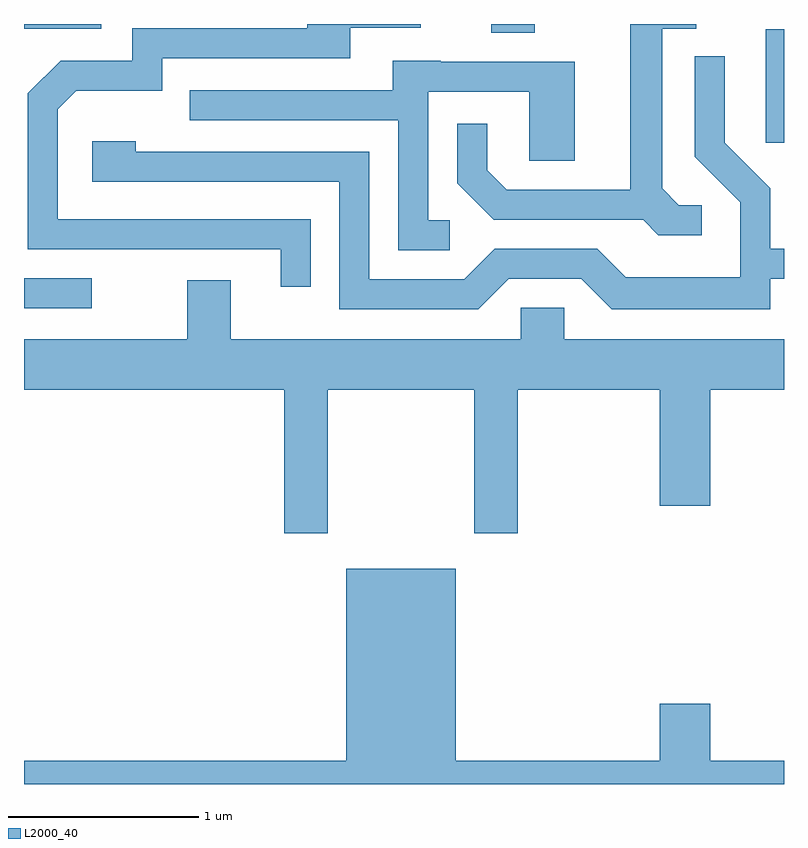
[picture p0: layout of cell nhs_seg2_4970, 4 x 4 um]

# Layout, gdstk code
import gdstk
lib = gdstk.Library(unit=1e-6, precision=1e-09)
def R(c, l, rs):  # rectangles x0, y0, x1, y1
    for r in rs: c.add(gdstk.rectangle(r[:2], r[2:], *l))
def P(c, l, *ps):  # polygons
    for p in ps: c.add(gdstk.Polygon(p, *l))
L2000_40 = (2000, 40)

nhs_seg2_4970 = lib.new_cell('nhs_seg2_4970')
R(nhs_seg2_4970, L2000_40, [(331.611,1044.306,331.968,1044.464), (335.516,1045.176,335.611,1045.774), (334.071,1045.756,334.299,1045.802), (331.611,1045.776,332.018,1045.802)])
P(nhs_seg2_4970, L2000_40, [(333.119,1044.774),(331.789,1044.774),(331.789,1045.353),(331.887,1045.451),(332.339,1045.451),(332.339,1045.621),(333.329,1045.621),(333.329,1045.781),(333.698,1045.781),(333.698,1045.802),(333.101,1045.802),(333.101,1045.779),(332.181,1045.779),(332.181,1045.609),(331.804,1045.609),(331.631,1045.437),(331.631,1044.616),(332.961,1044.616),(332.961,1044.418),(333.119,1044.418)],
  [(335.178,1044.849),(335.057,1044.849),(334.969,1044.937),(334.969,1045.776),(335.148,1045.776),(335.148,1045.802),(334.801,1045.802),(334.801,1044.929),(334.152,1044.929),(334.049,1045.032),(334.049,1045.277),(333.891,1045.277),(333.891,1044.964),(334.084,1044.771),(334.869,1044.771),(334.949,1044.691),(335.178,1044.691)],
  [(334.162,1044.461),(334.544,1044.461),(334.704,1044.301),(335.539,1044.301),(335.539,1044.461),(335.611,1044.461),(335.611,1044.619),(335.539,1044.619),(335.539,1044.937),(335.299,1045.177),(335.299,1045.632),(335.141,1045.632),(335.141,1045.103),(335.381,1044.863),(335.381,1044.469),(334.777,1044.469),(334.627,1044.619),(334.089,1044.619),(333.929,1044.459),(333.429,1044.459),(333.429,1045.129),(332.199,1045.129),(332.199,1045.184),(331.971,1045.184),(331.971,1044.971),(333.271,1044.971),(333.271,1044.301),(334.002,1044.301)],
  [(333.853,1044.769),(333.739,1044.769),(333.739,1045.446),(334.271,1045.446),(334.271,1045.081),(334.509,1045.081),(334.509,1045.604),(333.805,1045.604),(333.805,1045.609),(333.551,1045.609),(333.551,1045.454),(332.483,1045.454),(332.483,1045.296),(333.581,1045.296),(333.581,1044.611),(333.853,1044.611)],
  [(333.209,1043.876),(333.981,1043.876),(333.981,1043.121),(334.209,1043.121),(334.209,1043.876),(334.956,1043.876),(334.956,1043.266),(335.224,1043.266),(335.224,1043.876),(335.611,1043.876),(335.611,1044.144),(334.454,1044.144),(334.454,1044.309),(334.226,1044.309),(334.226,1044.144),(332.699,1044.144),(332.699,1044.454),(332.471,1044.454),(332.471,1044.144),(331.611,1044.144),(331.611,1043.876),(332.981,1043.876),(332.981,1043.121),(333.209,1043.121)],
  [(335.611,1041.924),(335.224,1041.924),(335.224,1042.224),(334.956,1042.224),(334.956,1041.924),(333.884,1041.924),(333.884,1042.934),(333.306,1042.934),(333.306,1041.924),(331.611,1041.924),(331.611,1041.802),(335.611,1041.802)])

lib.write_gds('nhs_seg2_4970.gds')
